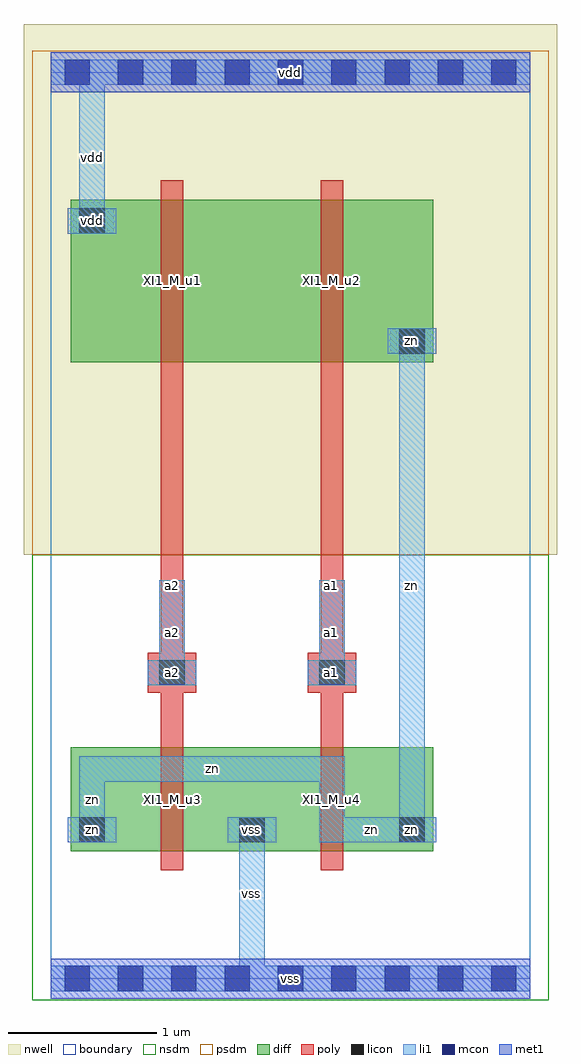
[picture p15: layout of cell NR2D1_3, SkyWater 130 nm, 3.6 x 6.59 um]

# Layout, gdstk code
import gdstk
lib = gdstk.Library(unit=1e-6, precision=1e-09)
def R(c, l, rs):  # rectangles x0, y0, x1, y1
    for r in rs: c.add(gdstk.rectangle(r[:2], r[2:], *l))
def A(c, l, x, y, w, h, nx, ny, dx, dy):  # array of equal rectangles
    R(c, l, [(x+i*dx, y+j*dy, x+i*dx+w, y+j*dy+h) for i in range(nx) for j in range(ny)])
L0_0 = (0, 0)
nwell = (64, 20)
diff = (65, 20)
poly = (66, 20)
licon = (66, 44)
li1 = (67, 20)
mcon = (67, 44)
met1 = (68, 20)
nsdm = (93, 44)
psdm = (94, 20)
boundary = (235, 4)

nr2d1_3 = lib.new_cell('NR2D1_3')
R(nr2d1_3, nwell, [(-0.18,2.86,3.42,6.445)])
A(nr2d1_3, diff, 0.135, 0.86, 0.29, 0.29, 3, 1, 1.08, 0)
R(nr2d1_3, diff, [(0.135,0.86,1.505,1.56), (1.215,0.86,2.585,1.56), (0.135,4.16,1.505,5.26), (1.215,4.16,2.585,5.26), (2.295,4.16,2.585,4.45), (0.135,4.97,0.425,5.26)])
R(nr2d1_3, poly, [(0.745,0.73,0.895,1.69), (1.825,0.73,1.975,1.69), (0.745,0.93,0.895,4.38), (1.825,0.93,1.975,4.38), (0.655,1.93,0.985,2.2), (1.735,1.93,2.065,2.2), (0.745,4.03,0.895,5.39), (1.825,4.03,1.975,5.39)])
A(nr2d1_3, licon, 0.195, 0.92, 0.17, 0.17, 3, 1, 1.08, 0)
R(nr2d1_3, licon, [(0.735,1.98,0.905,2.15), (1.815,1.98,1.985,2.15), (2.355,4.22,2.525,4.39), (0.195,5.03,0.365,5.2)])
A(nr2d1_3, li1, 0.115, 0.92, 0.33, 0.17, 3, 1, 1.08, 0)
R(nr2d1_3, li1, [(0,-0.085,3.24,0.085), (1.275,0.06,1.445,1.09), (0.195,0.92,0.365,1.5), (1.815,0.92,2.525,1.09), (1.815,0.92,1.985,1.5), (2.355,0.92,2.525,4.39), (0.195,1.33,1.985,1.5), (0.655,1.98,0.985,2.15), (0.735,1.98,0.905,2.69), (1.735,1.98,2.065,2.15), (1.815,1.98,1.985,2.69), (2.275,4.22,2.605,4.39), (0.115,5.03,0.445,5.2), (0.195,5.03,0.365,6.06), (0,6.035,3.24,6.205)])
A(nr2d1_3, mcon, 0.095, -0.085, 0.17, 0.17, 9, 2, 0.36, 6.12)
R(nr2d1_3, met1, [(0,-0.135,3.24,0.135), (0,5.985,3.24,6.255)])
R(nr2d1_3, nsdm, [(-0.125,-0.145,3.365,0.145), (-0.125,0.145,3.365,2.86)])
R(nr2d1_3, psdm, [(-0.125,2.86,3.365,5.975), (-0.125,5.975,3.365,6.265)])
R(nr2d1_3, boundary, [(0,0,3.24,6.12)])
nr2d1_3.add(gdstk.FlexPath([(0.115,0.355),(2.605,0.355)], 0, ends="flush", simple_path=True, layer=0, datatype=0))  # L0_0
nr2d1_3.add(gdstk.FlexPath([(0.115,1.005),(2.605,1.005)], 0, ends="flush", simple_path=True, layer=0, datatype=0))  # L0_0
nr2d1_3.add(gdstk.FlexPath([(0.115,1.415),(2.605,1.415)], 0, ends="flush", simple_path=True, layer=0, datatype=0))  # L0_0
nr2d1_3.add(gdstk.FlexPath([(0.115,2.065),(2.605,2.065)], 0, ends="flush", simple_path=True, layer=0, datatype=0))  # L0_0
nr2d1_3.add(gdstk.FlexPath([(0.115,2.605),(2.605,2.605)], 0, ends="flush", simple_path=True, layer=0, datatype=0))  # L0_0
nr2d1_3.add(gdstk.FlexPath([(0.115,3.145),(2.605,3.145)], 0, ends="flush", simple_path=True, layer=0, datatype=0))  # L0_0
nr2d1_3.add(gdstk.FlexPath([(0.115,4.305),(2.605,4.305)], 0, ends="flush", simple_path=True, layer=0, datatype=0))  # L0_0
nr2d1_3.add(gdstk.FlexPath([(0.115,4.775),(2.605,4.775)], 0, ends="flush", simple_path=True, layer=0, datatype=0))  # L0_0
nr2d1_3.add(gdstk.FlexPath([(0.115,5.115),(2.605,5.115)], 0, ends="flush", simple_path=True, layer=0, datatype=0))  # L0_0
nr2d1_3.add(gdstk.FlexPath([(0.115,5.765),(2.605,5.765)], 0, ends="flush", simple_path=True, layer=0, datatype=0))  # L0_0
nr2d1_3.add(gdstk.FlexPath([(0.28,0.06),(0.28,6.06)], 0, ends="flush", simple_path=True, layer=0, datatype=0))  # L0_0
nr2d1_3.add(gdstk.FlexPath([(0.82,0.06),(0.82,6.06)], 0, ends="flush", simple_path=True, layer=0, datatype=0))  # L0_0
nr2d1_3.add(gdstk.FlexPath([(1.36,0.06),(1.36,6.06)], 0, ends="flush", simple_path=True, layer=0, datatype=0))  # L0_0
nr2d1_3.add(gdstk.FlexPath([(1.9,0.06),(1.9,6.06)], 0, ends="flush", simple_path=True, layer=0, datatype=0))  # L0_0
nr2d1_3.add(gdstk.FlexPath([(2.44,0.06),(2.44,6.06)], 0, ends="flush", simple_path=True, layer=0, datatype=0))  # L0_0
nr2d1_3.add(gdstk.Label('XI1_M_u4', (1.9,1.21), layer=65, texttype=20))
nr2d1_3.add(gdstk.Label('XI1_M_u3', (0.82,1.21), layer=65, texttype=20))
nr2d1_3.add(gdstk.Label('XI1_M_u2', (1.9,4.71), layer=65, texttype=20))
nr2d1_3.add(gdstk.Label('XI1_M_u1', (0.82,4.71), layer=65, texttype=20))
nr2d1_3.add(gdstk.Label('zn', (2.44,1.005), layer=65, texttype=20))
nr2d1_3.add(gdstk.Label('zn', (0.28,1.005), layer=65, texttype=20))
nr2d1_3.add(gdstk.Label('zn', (2.44,4.305), layer=65, texttype=20))
nr2d1_3.add(gdstk.Label('vss', (1.36,1.005), layer=65, texttype=20))
nr2d1_3.add(gdstk.Label('vdd', (0.28,5.115), layer=65, texttype=20))
nr2d1_3.add(gdstk.Label('a1', (1.9,2.655), layer=66, texttype=20))
nr2d1_3.add(gdstk.Label('a1', (1.9,2.065), layer=66, texttype=20))
nr2d1_3.add(gdstk.Label('a2', (0.82,2.655), layer=66, texttype=20))
nr2d1_3.add(gdstk.Label('a2', (0.82,2.065), layer=66, texttype=20))
nr2d1_3.add(gdstk.Label('zn', (2.44,1.005), layer=66, texttype=44))
nr2d1_3.add(gdstk.Label('zn', (0.28,1.005), layer=66, texttype=44))
nr2d1_3.add(gdstk.Label('zn', (2.44,4.305), layer=66, texttype=44))
nr2d1_3.add(gdstk.Label('a1', (1.9,2.065), layer=66, texttype=44))
nr2d1_3.add(gdstk.Label('a2', (0.82,2.065), layer=66, texttype=44))
nr2d1_3.add(gdstk.Label('vss', (1.36,1.005), layer=66, texttype=44))
nr2d1_3.add(gdstk.Label('vdd', (0.28,5.115), layer=66, texttype=44))
nr2d1_3.add(gdstk.Label('zn', (2.44,1.005), layer=67, texttype=16))
nr2d1_3.add(gdstk.Label('zn', (0.28,1.005), layer=67, texttype=16))
nr2d1_3.add(gdstk.Label('zn', (2.44,4.305), layer=67, texttype=16))
nr2d1_3.add(gdstk.Label('zn', (2.17,1.005), layer=67, texttype=16))
nr2d1_3.add(gdstk.Label('zn', (1.9,1.21), layer=67, texttype=16))
nr2d1_3.add(gdstk.Label('zn', (1.09,1.415), layer=67, texttype=16))
nr2d1_3.add(gdstk.Label('zn', (0.28,1.21), layer=67, texttype=16))
nr2d1_3.add(gdstk.Label('zn', (2.44,2.655), layer=67, texttype=16))
nr2d1_3.add(gdstk.Label('a1', (1.9,2.065), layer=67, texttype=16))
nr2d1_3.add(gdstk.Label('a1', (1.9,2.335), layer=67, texttype=16))
nr2d1_3.add(gdstk.Label('a2', (0.82,2.065), layer=67, texttype=16))
nr2d1_3.add(gdstk.Label('a2', (0.82,2.335), layer=67, texttype=16))
nr2d1_3.add(gdstk.Label('vss', (1.36,1.005), layer=67, texttype=20))
nr2d1_3.add(gdstk.Label('vss', (1.36,0.575), layer=67, texttype=20))
nr2d1_3.add(gdstk.Label('vdd', (0.28,5.115), layer=67, texttype=20))
nr2d1_3.add(gdstk.Label('vdd', (0.28,5.545), layer=67, texttype=20))
nr2d1_3.add(gdstk.Label('vss', (1.62,0), layer=67, texttype=16))
nr2d1_3.add(gdstk.Label('vdd', (1.62,6.12), layer=67, texttype=16))
nr2d1_3.add(gdstk.Label('vss', (1.62,0), layer=68, texttype=16))
nr2d1_3.add(gdstk.Label('vdd', (1.62,6.12), layer=68, texttype=16))

lib.write_gds('NR2D1_3.gds')
